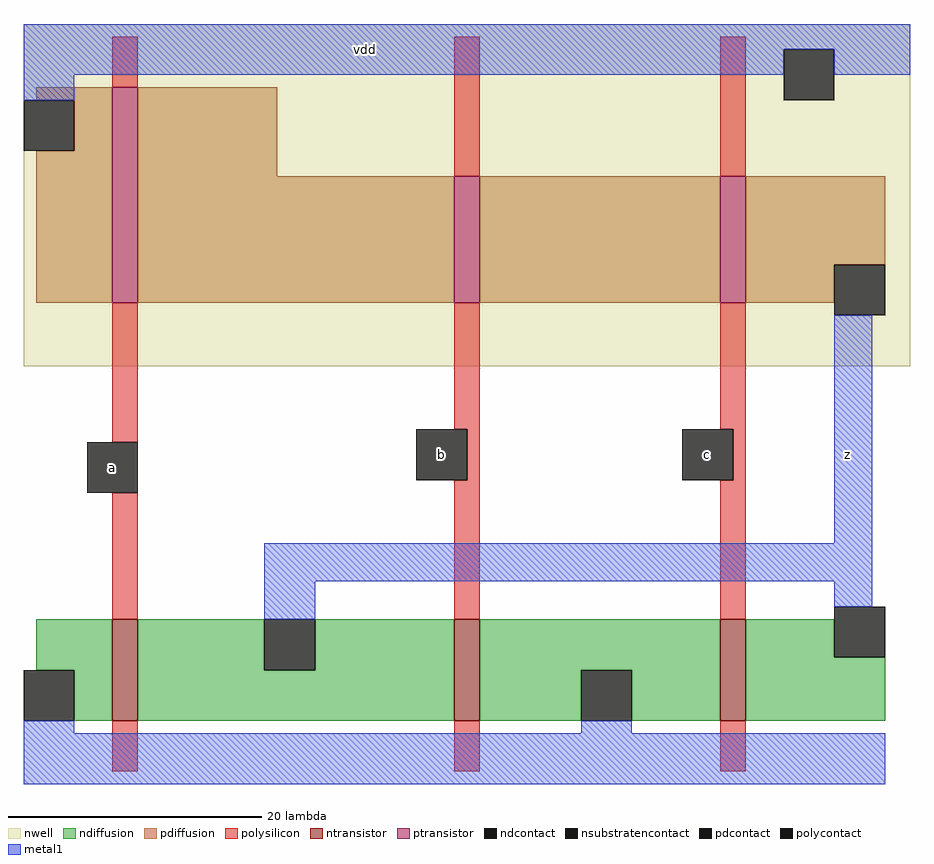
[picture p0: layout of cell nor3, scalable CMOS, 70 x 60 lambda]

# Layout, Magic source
magic
tech scmos
<< nwell >>
rect -28 -4 42 23
<< polysilicon >>
rect -21 18 -19 22
rect 6 11 8 22
rect 27 11 29 22
rect -21 -10 -19 1
rect 6 -9 8 1
rect 27 -9 29 1
rect 7 -13 8 -9
rect 28 -13 29 -9
rect -21 -24 -19 -14
rect 6 -24 8 -13
rect 27 -24 29 -13
rect -21 -36 -19 -32
rect 6 -36 8 -32
rect 27 -36 29 -32
<< ndiffusion >>
rect -27 -28 -21 -24
rect -24 -32 -21 -28
rect -19 -28 -9 -24
rect -5 -28 6 -24
rect -19 -32 6 -28
rect 8 -28 27 -24
rect 8 -32 16 -28
rect 20 -32 27 -28
rect 29 -27 36 -24
rect 29 -32 40 -27
<< pdiffusion >>
rect -27 17 -21 18
rect -24 13 -21 17
rect -27 1 -21 13
rect -19 11 -8 18
rect -19 1 6 11
rect 8 1 27 11
rect 29 4 40 11
rect 29 1 36 4
<< metal1 >>
rect -28 21 42 23
rect -28 19 32 21
rect -28 17 -24 19
rect 36 19 42 21
rect 36 -18 39 0
rect -9 -21 39 -18
rect -9 -24 -5 -21
rect 36 -23 39 -21
rect -28 -33 -24 -32
rect 16 -33 20 -32
rect -28 -37 40 -33
<< ntransistor >>
rect -21 -32 -19 -24
rect 6 -32 8 -24
rect 27 -32 29 -24
<< ptransistor >>
rect -21 1 -19 18
rect 6 1 8 11
rect 27 1 29 11
<< polycontact >>
rect -23 -14 -19 -10
rect 3 -13 7 -9
rect 24 -13 28 -9
<< ndcontact >>
rect -28 -32 -24 -28
rect -9 -28 -5 -24
rect 16 -32 20 -28
rect 36 -27 40 -23
<< pdcontact >>
rect -28 13 -24 17
rect 36 0 40 4
<< nsubstratencontact >>
rect 32 17 36 21
<< labels >>
rlabel metal1 37 -11 37 -11 7 z
rlabel polycontact 26 -11 26 -11 1 c
rlabel polycontact -21 -12 -21 -12 1 a
rlabel metal1 -1 21 -1 21 5 vdd
rlabel polycontact 5 -11 5 -11 1 b
<< end >>
